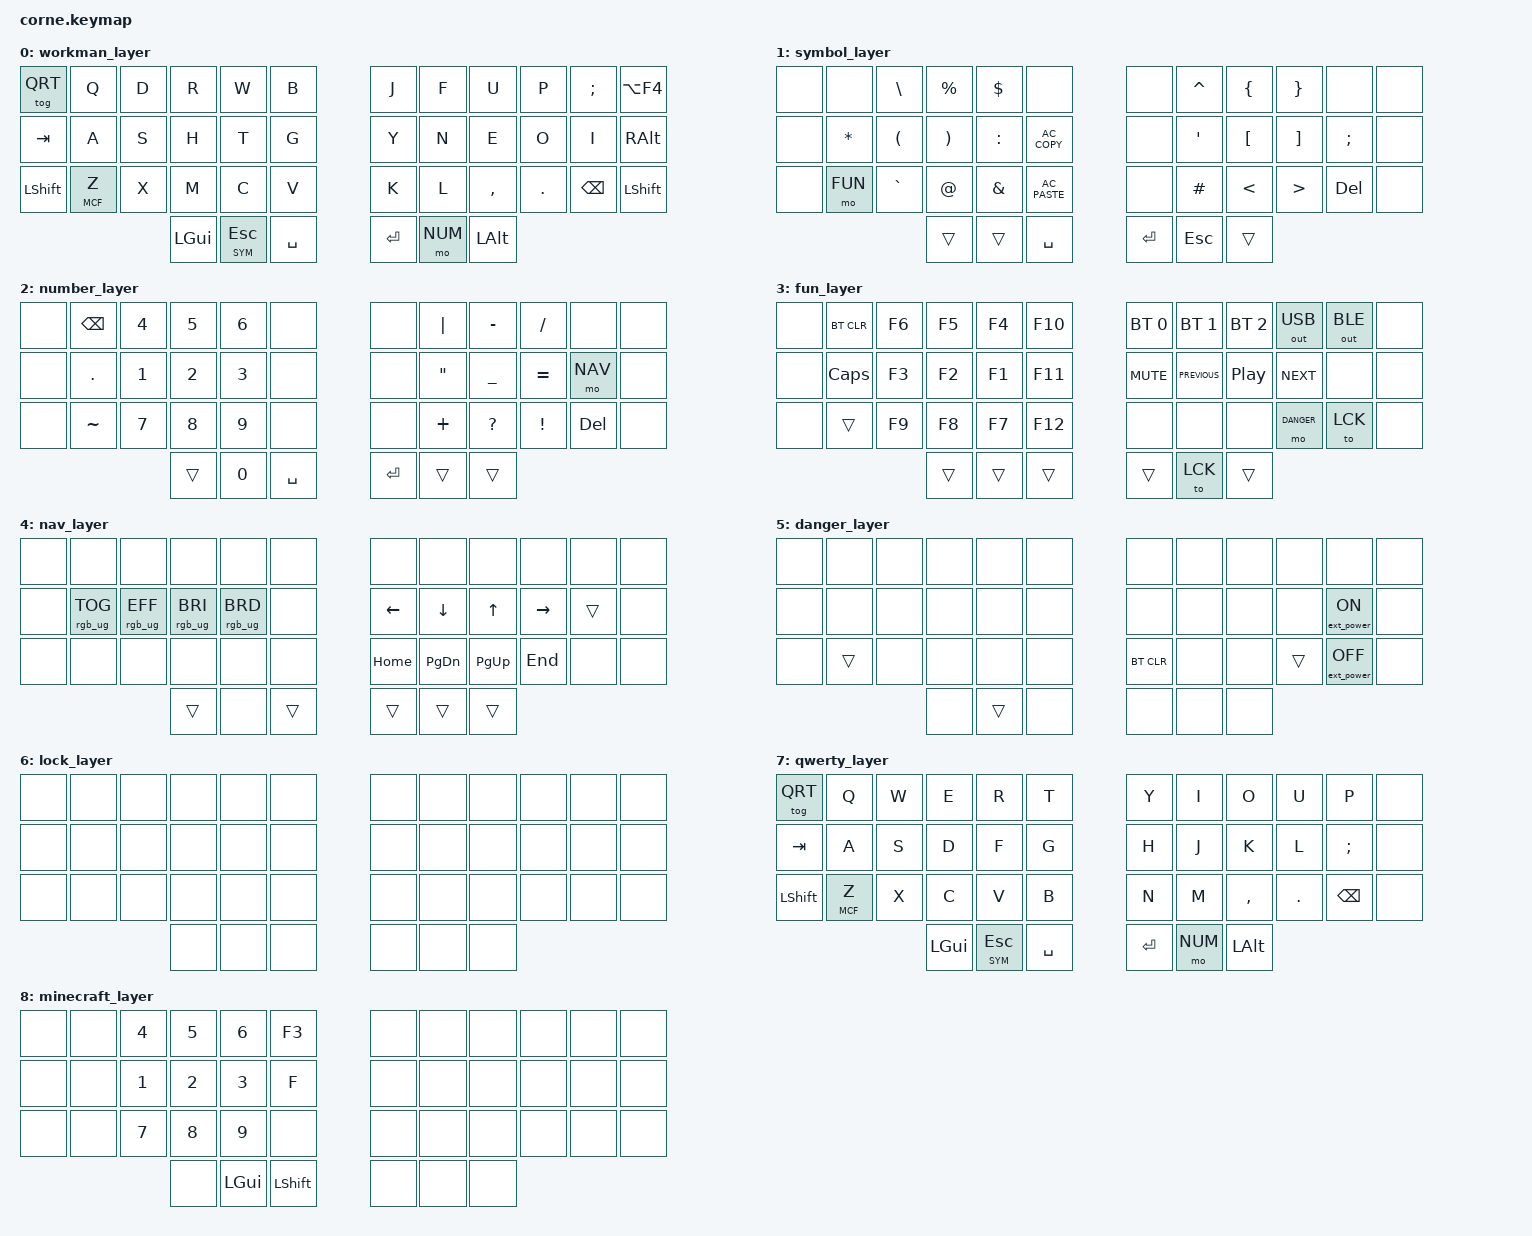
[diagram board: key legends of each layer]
/*
 * Copyright (c) 2020 The ZMK Contributors
 *
 * SPDX-License-Identifier: MIT
 */


#include <behaviors.dtsi>
#include <dt-bindings/zmk/keys.h>
#include <dt-bindings/zmk/bt.h>
#include <dt-bindings/zmk/outputs.h>
#include <dt-bindings/zmk/ext_power.h>
#include <dt-bindings/zmk/rgb.h>
 
#define WKM 0
#define SYM 1
#define NUM 2
#define FUN 3
#define NAV 4
#define DANGER 5
#define LCK 6
#define QRT 7
#define MCF 8

&caps_word {
   continue-list = <UNDERSCORE MINUS BACKSPACE>;
};


/ {

    behaviors {
        skq: sticky_key_quick_release {
            compatible = "zmk,behavior-sticky-key";
            label = "STICKY_KEY_QUICK_RELEASE";
            #binding-cells = <1>;
            bindings = <&kp>;
            release-after-ms = <1000>;
            quick-release;
        };
    };

    combos {
        compatible = "zmk,combos";
        combo_wf_shift {
            layers = <0 1 2 3 4 5 7>;
            timeout-ms = <50>;
            // D + R
            key-positions = <2 3>;
            bindings = <&skq LSHFT>;
        };
        combo_gm_capsword {
            layers = <0 1 2 3 4 5>;
            timeout-ms = <100>;
            // G + Y
            key-positions = <17 18>;
            bindings = <&caps_word>;
        };
        combo_xc_ctrl {
            layers = <0 1 2 3 4 5 7>;
            timeout-ms = <50>;
            // X + M
            key-positions = <26 27>;
            bindings = <&sk LCTL>;
        };
        combo_unlock {
            timeout-ms = <50>;
            // (Z + SYM) + NAV (NUM + SFT)
            key-positions = <25 34 37 40>;
            bindings = <&tog LCK>;
        };
        combo_commadot_tab {
            layers = <0 1 2 3 4 5 7>;
            timeout-ms = <50>;
            // , + . = shift
            key-positions = <32 33>;
            bindings = <&kp TAB>;
        };
        combo_opt {
            layers = <0 1 2 3 4 5>;
            timeout-ms = <50>;
            // SYM + SPC = CMD
            key-positions = <37 38>;
            bindings = <&sk LCMD>;
        };
        combo_cmd {
            layers = <0 1 2 3 4 5>;
            timeout-ms = <50>;
            // NUM + ENT = OPT
            key-positions = <39 40>;
            bindings = <&sk LALT>;
        };
        combo_bspc {
            layers = <0 1 2 3 4 5>;
            timeout-ms = <80>;
            // SPC + ENT = BSPC
            key-positions = <38 39>;
            bindings = <&kp BSPC>;
        };
    };
};

&lt {
    tapping-term-ms = <200>;
    quick_tap_ms = <200>;
    flavor = "tap-preferred";
};


/ {
        keymap {
                compatible = "zmk,keymap";
                workman_layer {
// ---------------------------------------------------------------------------
// |Tqrt |  Q  |  D  |  R  |  W  |  B  | |  J  |  F  |  U  |  ;  |     |Alt+F4|
// | TAB |  A  |  S  |  H  |  T  |  G  | |  Y  |  N  |  E  |  O  |  I  | RAlt|
// |shift|  Z  |  X  |  M  |  C  |  V  | |  K  |  L  |  ,  |  .  |BKSP |shift|
//      | CMD |tap ESC hold -SYM-| SPC | | RET |-NUM-| OPT |
                        bindings = <
   &tog QRT &kp Q &kp D &kp R &kp W &kp B &kp J &kp F &kp U &kp P &kp SEMI &kp LA(F4)
   &kp TAB &kp A &kp S &kp H &kp T &kp G &kp Y &kp N &kp E &kp O &kp I &kp RALT
   &kp LSHFT &lt MCF Z &kp X &kp M &kp C &kp V &kp K &kp L &kp COMMA &kp DOT &kp BSPC &kp LSHFT
            &kp LGUI &lt SYM ESC &kp SPACE &kp RET &mo NUM &kp LALT
                        >;
                };
                symbol_layer {
// ---------------------------------------------------------------------------
// |     |     |  \  |  %  |  $  |      | |     |  ^  |  {  |  }  |     |     |
// |     |  *  |  (  |  )  |  :  | Copy | |     |  '  |  [  |  ]  |  ;  |     |
// |     |-FUN-|  `  |  @  |  &  | Paste| |     |  #  |  <  |  >  | DEL |     |
//                   | OPT |_SYM_| SPACE | | RET | ESC | CMD |
                        bindings = <
   &none &none  &kp BSLH &kp PRCNT &kp DLLR  &none &none &kp CARET &kp LBRC &kp RBRC &none  &none
   &none &kp STAR &kp LPAR &kp RPAR  &kp COLON &kp C_AC_COPY &none &kp SQT   &kp LBKT &kp RBKT &kp SEMI  &none
   &none &mo FUN  &kp GRAVE   &kp AT  &kp AMPS  &kp C_AC_PASTE &none &kp HASH &kp LT   &kp GT   &kp DEL &none
                             &trans &trans &kp SPACE &kp RET &kp ESC &trans
                        >;
                };
                number_layer {
// ---------------------------------------------------------------------------
// |     |     |  4  |  5  |  6  |     | |     |  |  |  -  |  /  |     |     |
// |     |  .  |  1  |  2  |  3  |     | |     |  "  |  _  |  =  |-NAV-|     |
// |     |  ~  |  7  |  8  |  9  |     | |     |  +  |  ?  |  !  | DEL |     |
//                   | OPT |  0  | SPC | | RET |_NUM_| CMD |
                        bindings = <
   &none &kp BSPC  &kp N4 &kp N5 &kp N6 &none &none &kp PIPE &kp MINUS &kp FSLH  &none &none
   &none &kp DOT &kp N1 &kp N2 &kp N3 &none &none &kp DQT  &kp UNDER &kp EQUAL &mo NAV  &none 
   &none &kp TILDE  &kp N7 &kp N8 &kp N9 &none &none &kp PLUS &kp QMARK  &kp EXCL    &kp DEL &none
                 &trans &kp N0 &kp SPACE &kp RET  &trans    &trans
                        >;
                };
                fun_layer {
// ---------------------------------------------------------------------------
// |     |     | F 6 | F 5 | F 4 | F10 | | BT0 | BT1 | BT2 | USB | BLE |     |
// |     |CAPSL| F 3 | F 2 | F 1 | F11 | |VMUTE|Prev |Media|Next |     |
// |     |_FUN_| F 9 | F 8 | F 7 | F12 | | <!> | <!> |SLEEP|-!!!-|<LCK>|
//                   | OPT |_SYM_| SPC | | RET |<LCK>| CMD |
                        bindings = <
   &none &bt BT_CLR &kp F6 &kp F5 &kp F4 &kp F10  &bt BT_SEL 0 &bt BT_SEL 1 &bt BT_SEL 2  &out OUT_USB &out OUT_BLE &none 
   &none &kp CAPS &kp F3   &kp F2 &kp F1 &kp F11      &kp K_MUTE &kp C_PREVIOUS &kp C_PLAY_PAUSE  &kp C_NEXT &none &none
   &none &trans &kp F9 &kp F8 &kp F7  &kp F12      &none  &none &none &mo DANGER &to LCK   &none
                         &trans &trans &trans &trans &to LCK &trans 
                        >;
                };
                nav_layer {
// ---------------------------------------------------------------------------
// |     |     |     |     |     |     | |     |     |     |     |     |     |
// |     | TOG | EFF | BRI | BRD |     | | LFT | DWN | U P |RIGHT|_NAV_|     |
// |     | SAD |     |     |     |     | | HOM |PG_DN|PG_UP| END |     |     |
//                   | OPT |     | SPC | | RET |_NUM_| CMD |
                        bindings = <
   &none &none      &none &none &none &none &none    &none     &none     &none     &none  &none 
   &none &rgb_ug RGB_TOG &rgb_ug RGB_EFF &rgb_ug RGB_BRI &rgb_ug RGB_BRD &none &kp LEFT &kp DOWN  &kp UP    &kp RIGHT &trans  &none 
   &none &none &none &none &none &none &kp HOME &kp PG_DN &kp PG_UP &kp END   &none &none 
                         &trans &none &trans &trans &trans &trans
                        >;
                };
                danger_layer {
// ---------------------------------------------------------------------------
// |     |     |     |     |     |     | |     |     |     |     |     |     |
// |     |     |     |     |     |     | |     |     |     |     |EP ON|     |
// |     |_FUN_|     |     |     |     | |BTCLR|     |     |_!!!_|EPOFF|     |
//                   |     |_SYM_|     | |     |     |     |
                    // impactful buttons
                    // Bluetooth clear, reset
                    bindings = <
&none &none &none &none &none &none &none &none &none &none &none &none 
&none &none &none &none &none &none &none &none &none &none &ext_power EP_ON &none 
&none &trans &none &none &none &none &bt BT_CLR &none &none &trans &ext_power EP_OFF &none 
&none &trans &none &none &none &none 
                    >;
                };
                lock_layer {
                    // only way out is the combo Z + SYM + NUM + SFT
                    // other combos are disabled too
                    bindings = <
&none &none &none &none &none &none &none &none &none &none &none &none 
&none &none &none &none &none &none &none &none &none &none &none &none 
&none &none &none &none &none &none &none &none &none &none &none &none 
&none &none &none &none &none &none 
                    >;
                };
                qwerty_layer {
// ---------------------------------------------------------------------------
// |TQRT |  Q  |  D  |  R  |  W  |  B  | |  j  |  f  |  u  |  ;  |     |     |
// |     |  a  |  s  |  h  |  t  |  g  | |  y  |  n  |  e  |  o  |  i  |     |
// |shift|  z  |  x  |  m  |  c  |  v  | |  k  |  l  |  ,  |  .  |BKSP |shift|
//                   | GUI |tap ESC hold -SYM-| SPC | | RET |-NUM-| OPT |
                        bindings = <
   &tog QRT &kp Q &kp W &kp E &kp R &kp T &kp Y &kp I   &kp O    &kp U   &kp P  &none
   &kp TAB &kp A &kp S &kp D &kp F &kp G &kp H &kp J   &kp K     &kp L   &kp SEMI    &none
   &kp LSHFT &lt MCF Z &kp X &kp C &kp V &kp B &kp N &kp M   &kp COMMA &kp DOT &kp BSPC &none
            &kp LGUI &lt SYM ESC &kp SPACE &kp RET &mo NUM &kp LALT
                        >;
                };
                minecraft_layer {
// ---------------------------------------------------------------------------
// |     |     |  4  |  5  |  6  | F 3 | |     |     |     |     |     |     |
// |     |     |  1  |  2  |  3  |  F  | |     |     |     |     |     |     |
// |     |     |  7  |  8  |  9  |     | |     |     |     |     |     |     |
//                   |     | GUI |shift| |     |     |     |
                    bindings = <
&none &none &kp N4 &kp N5 &kp N6 &kp F3 &none &none &none &none &none &none 
&none &none &kp N1 &kp N2 &kp N3 &kp F &none &none &none &none &none &none 
&none &none &kp N7 &kp N8 &kp N9 &none &none &none &none &none &none &none 
                     &none &kp LGUI &kp LSHFT &none &none &none 
                    >;
                };
        };
};
